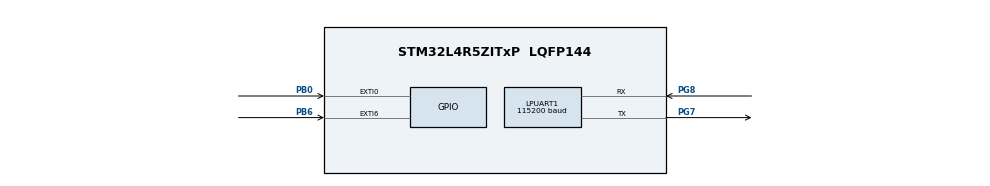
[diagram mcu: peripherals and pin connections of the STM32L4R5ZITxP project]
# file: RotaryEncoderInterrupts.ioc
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LPUART1.BaudRate=115200
LPUART1.WordLength=UART_WORDLENGTH_8B
Mcu.Family=STM32L4
Mcu.Name=STM32L4R5ZITxP
Mcu.Package=LQFP144
NVIC.EXTI0_IRQn=true\:0\:0\:false\:false\:true\:true\:true\:true
NVIC.EXTI9_5_IRQn=true\:0\:0\:false\:false\:true\:true\:true\:true
NVIC.PriorityGroup=NVIC_PRIORITYGROUP_4
PA0.Signal=S_TIM2_CH1
PA1.Signal=ADCx_IN6
PA10.Signal=USB_OTG_FS_ID
PA13\ (JTMS/SWDIO).Signal=SYS_JTMS-SWDIO
PA14\ (JTCK/SWCLK).Signal=SYS_JTCK-SWCLK
PA3.Signal=ADCx_IN8
PA4.Signal=SPI1_NSS
PA5.Signal=SPI1_SCK
PA6.Signal=SPI1_MISO
PA7.Signal=SPI1_MOSI
PA8.Signal=USB_OTG_FS_SOF
PA9.Signal=USB_OTG_FS_VBUS
PB0.GPIO_ModeDefaultEXTI=GPIO_MODE_IT_RISING_FALLING
PB0.Signal=GPXTI0
PB10.Signal=S_TIM2_CH3
PB12.Signal=SAI2_FS_A
PB13.Signal=SAI2_SCK_A
PB14.Signal=S_TIM15_CH1
PB15.Signal=SAI2_SD_A
PB2.Signal=COMP1_INP
PB3\ (JTDO/TRACESWO).Signal=SPI3_SCK
PB4\ (NJTRST).Signal=SPI3_MISO
PB5.Signal=SPI3_MOSI
PB6.GPIO_ModeDefaultEXTI=GPIO_MODE_IT_RISING_FALLING
PB6.Signal=GPXTI6
PB8.Signal=I2C1_SCL
PB9.Signal=I2C1_SDA
PC0.Signal=ADCx_IN1
PC1.Signal=ADCx_IN2
PC10.Signal=SDMMC1_D2
PC11.Signal=SDMMC1_D3
PC12.Signal=SDMMC1_CK
PC13.Signal=SYS_WKUP2
PC14-OSC32_IN\ (PC14).Signal=RCC_OSC32_IN
PC15-OSC32_OUT\ (PC15).Signal=RCC_OSC32_OUT
PC2.Signal=ADCx_IN3
PC3.Signal=ADCx_IN4
PC4.Signal=ADCx_IN13
PC5.Signal=ADCx_IN14
PC6.Signal=SAI2_MCLK_A
PC7.Signal=S_TIM3_CH2
PC8.Signal=SDMMC1_D0
PC9.Signal=SDMMC1_D1
PD0.Signal=CAN1_RX
PD14.Signal=S_TIM4_CH3
PD15.Signal=S_TIM4_CH4
PD2.Signal=SDMMC1_CMD
PD3.Signal=USART2_CTS
PD4.Signal=USART2_RTS
PD5.Signal=USART2_TX
PD6.Signal=USART2_RX
PD8.Signal=USART3_TX
PD9.Signal=USART3_RX
PE0.Signal=S_TIM4_ETR
PE10.Signal=TIM1_CH2N
PE11.Signal=S_TIM1_CH2
PE12.Signal=TIM1_CH3N
PE13.Signal=S_TIM1_CH3
PE14.Signal=TIM1_BKIN2
PE15.Signal=TIM1_BKIN
PE2.Signal=SAI1_MCLK_A
PE3.Signal=SAI1_SD_B
PE7.Signal=S_TIM1_ETR
PE8.Signal=TIM1_CH1N
PE9.Signal=S_TIM1_CH1
PF0.Signal=I2C2_SDA
PF1.Signal=I2C2_SCL
PF2.Signal=I2C2_SMBA
PF7.Signal=SAI1_MCLK_B
PG7.Mode=Asynchronous
PG7.Signal=LPUART1_TX
PG8.Mode=Asynchronous
PG8.Signal=LPUART1_RX
PH0-OSC_IN\ (PH0).Signal=RCC_OSC_IN
PH1-OSC_OUT\ (PH1).Signal=RCC_OSC_OUT
ProjectManager.HeapSize=0x200
ProjectManager.StackSize=0x400
ProjectManager.TargetToolchain=STM32CubeIDE
RCC.HSE_VALUE=8000000
RCC.HSI48_VALUE=48000000
RCC.HSI_VALUE=16000000
RCC.LSE_VALUE=32768
RCC.MSI_VALUE=4000000
RCC.VCOOutputFreq_Value=32000000
SH.ADCx_IN1.0=ADC1_IN1
SH.ADCx_IN13.0=ADC1_IN13
SH.ADCx_IN14.0=ADC1_IN14
SH.ADCx_IN2.0=ADC1_IN2
SH.ADCx_IN3.0=ADC1_IN3
SH.ADCx_IN4.0=ADC1_IN4
SH.ADCx_IN6.0=ADC1_IN6
SH.ADCx_IN8.0=ADC1_IN8
SH.S_TIM15_CH1.0=TIM15_CH1
SH.S_TIM1_CH1.0=TIM1_CH1
SH.S_TIM1_CH2.0=TIM1_CH2
SH.S_TIM1_CH3.0=TIM1_CH3
SH.S_TIM1_ETR.0=TIM1_ETR
SH.S_TIM2_CH1.0=TIM2_CH1
SH.S_TIM2_CH3.0=TIM2_CH3
SH.S_TIM3_CH2.0=TIM3_CH2
SH.S_TIM4_CH3.0=TIM4_CH3
SH.S_TIM4_CH4.0=TIM4_CH4
SH.S_TIM4_ETR.0=TIM4_ETR
board=NUCLEO-L4R5ZI-P

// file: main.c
/* USER CODE BEGIN Header */
/**
  ******************************************************************************
  * @file           : main.c
  * @brief          : Main program body
  ******************************************************************************
  * @attention
  *
  * Copyright (c) 2024 STMicroelectronics.
  * All rights reserved.
  *
  * This software is licensed under terms that can be found in the LICENSE file
  * in the root directory of this software component.
  * If no LICENSE file comes with this software, it is provided AS-IS.
  *
  ******************************************************************************
  */
/* USER CODE END Header */
#include "main.h"

/* USER CODE BEGIN Includes */
#include "stdio.h"
#include <stdbool.h>
/* USER CODE END Includes */

UART_HandleTypeDef hlpuart1;

void SystemClock_Config(void);
static void MX_GPIO_Init(void);
static void MX_LPUART1_UART_Init(void);

/* USER CODE BEGIN 0 */
void HAL_GPIO_EXTI_Callback(uint16_t GPIO_Pin)
{
  static int encoderPos = 0;
  static int aLast = 0;
  int aCurr, bCurr;
  bool bCW = false;

  if (GPIO_Pin == GPIO_PIN_0 || GPIO_Pin == GPIO_PIN_6) // Handle encoder pins
  {
    aCurr = HAL_GPIO_ReadPin(GPIOB, GPIO_PIN_0);
    bCurr = HAL_GPIO_ReadPin(GPIOB, GPIO_PIN_6);

    if (aCurr != aLast) // Detect rotation
    {
      if (bCurr != aCurr) // Clockwise
      {
        encoderPos++;
        bCW = true;
      }
      else // Counterclockwise
      {
        encoderPos--;
        bCW = false;
      }

      printf("Rotated: %s\n\r", bCW ? "clockwise" : "counterclockwise");
      printf("Encoder Position: %d\n\r", encoderPos);
    }
    aLast = aCurr;
  }
}
/* USER CODE END 0 */

int main(void)
{

  /* MCU Configuration--------------------------------------------------------*/

  /* Reset of all peripherals, Initializes the Flash interface and the Systick. */
  HAL_Init();

  /* Configure the system clock */
  SystemClock_Config();

  /* Initialize all configured peripherals */
  MX_GPIO_Init();
  MX_LPUART1_UART_Init();

  /* Infinite loop */
  while (1)
  {

  }
}

void SystemClock_Config(void)
{
  RCC_OscInitTypeDef RCC_OscInitStruct = {0};
  RCC_ClkInitTypeDef RCC_ClkInitStruct = {0};

  /** Configure the main internal regulator output voltage
  */
  if (HAL_PWREx_ControlVoltageScaling(PWR_REGULATOR_VOLTAGE_SCALE1) != HAL_OK)
  {
    Error_Handler();
  }

  /** Initializes the RCC Oscillators according to the specified parameters
  * in the RCC_OscInitTypeDef structure.
  */
  RCC_OscInitStruct.OscillatorType = RCC_OSCILLATORTYPE_MSI;
  RCC_OscInitStruct.MSIState = RCC_MSI_ON;
  RCC_OscInitStruct.MSICalibrationValue = 0;
  RCC_OscInitStruct.MSIClockRange = RCC_MSIRANGE_6;
  RCC_OscInitStruct.PLL.PLLState = RCC_PLL_NONE;
  if (HAL_RCC_OscConfig(&RCC_OscInitStruct) != HAL_OK)
  {
    Error_Handler();
  }

  /** Initializes the CPU, AHB and APB buses clocks
  */
  RCC_ClkInitStruct.ClockType = RCC_CLOCKTYPE_HCLK|RCC_CLOCKTYPE_SYSCLK
                              |RCC_CLOCKTYPE_PCLK1|RCC_CLOCKTYPE_PCLK2;
  RCC_ClkInitStruct.SYSCLKSource = RCC_SYSCLKSOURCE_MSI;
  RCC_ClkInitStruct.AHBCLKDivider = RCC_SYSCLK_DIV1;
  RCC_ClkInitStruct.APB1CLKDivider = RCC_HCLK_DIV1;
  RCC_ClkInitStruct.APB2CLKDivider = RCC_HCLK_DIV1;

  if (HAL_RCC_ClockConfig(&RCC_ClkInitStruct, FLASH_LATENCY_0) != HAL_OK)
  {
    Error_Handler();
  }
}

static void MX_LPUART1_UART_Init(void)
{

  hlpuart1.Instance = LPUART1;
  hlpuart1.Init.BaudRate = 115200;
  hlpuart1.Init.WordLength = UART_WORDLENGTH_8B;
  hlpuart1.Init.StopBits = UART_STOPBITS_1;
  hlpuart1.Init.Parity = UART_PARITY_NONE;
  hlpuart1.Init.Mode = UART_MODE_TX_RX;
  hlpuart1.Init.HwFlowCtl = UART_HWCONTROL_NONE;
  hlpuart1.Init.OneBitSampling = UART_ONE_BIT_SAMPLE_DISABLE;
  hlpuart1.Init.ClockPrescaler = UART_PRESCALER_DIV1;
  hlpuart1.AdvancedInit.AdvFeatureInit = UART_ADVFEATURE_NO_INIT;
  hlpuart1.FifoMode = UART_FIFOMODE_DISABLE;
  if (HAL_UART_Init(&hlpuart1) != HAL_OK)
  {
    Error_Handler();
  }
  if (HAL_UARTEx_SetTxFifoThreshold(&hlpuart1, UART_TXFIFO_THRESHOLD_1_8) != HAL_OK)
  {
    Error_Handler();
  }
  if (HAL_UARTEx_SetRxFifoThreshold(&hlpuart1, UART_RXFIFO_THRESHOLD_1_8) != HAL_OK)
  {
    Error_Handler();
  }
  if (HAL_UARTEx_DisableFifoMode(&hlpuart1) != HAL_OK)
  {
    Error_Handler();
  }

}

static void MX_GPIO_Init(void)
{
  GPIO_InitTypeDef GPIO_InitStruct = {0};

  /* GPIO Ports Clock Enable */
  __HAL_RCC_GPIOE_CLK_ENABLE();
  __HAL_RCC_GPIOC_CLK_ENABLE();
  __HAL_RCC_GPIOF_CLK_ENABLE();
  __HAL_RCC_GPIOH_CLK_ENABLE();
  __HAL_RCC_GPIOA_CLK_ENABLE();
  __HAL_RCC_GPIOB_CLK_ENABLE();
  __HAL_RCC_GPIOD_CLK_ENABLE();
  __HAL_RCC_GPIOG_CLK_ENABLE();
  HAL_PWREx_EnableVddIO2();

  /*Configure GPIO pins : PE2 PE3 */
  GPIO_InitStruct.Pin = GPIO_PIN_2|GPIO_PIN_3;
  GPIO_InitStruct.Mode = GPIO_MODE_AF_PP;
  GPIO_InitStruct.Pull = GPIO_NOPULL;
  GPIO_InitStruct.Speed = GPIO_SPEED_FREQ_LOW;
  GPIO_InitStruct.Alternate = GPIO_AF13_SAI1;
  HAL_GPIO_Init(GPIOE, &GPIO_InitStruct);

  /*Configure GPIO pins : PF0 PF1 PF2 */
  GPIO_InitStruct.Pin = GPIO_PIN_0|GPIO_PIN_1|GPIO_PIN_2;
  GPIO_InitStruct.Mode = GPIO_MODE_AF_OD;
  GPIO_InitStruct.Pull = GPIO_NOPULL;
  GPIO_InitStruct.Speed = GPIO_SPEED_FREQ_VERY_HIGH;
  GPIO_InitStruct.Alternate = GPIO_AF4_I2C2;
  HAL_GPIO_Init(GPIOF, &GPIO_InitStruct);

  /*Configure GPIO pin : PF7 */
  GPIO_InitStruct.Pin = GPIO_PIN_7;
  GPIO_InitStruct.Mode = GPIO_MODE_AF_PP;
  GPIO_InitStruct.Pull = GPIO_NOPULL;
  GPIO_InitStruct.Speed = GPIO_SPEED_FREQ_LOW;
  GPIO_InitStruct.Alternate = GPIO_AF13_SAI1;
  HAL_GPIO_Init(GPIOF, &GPIO_InitStruct);

  /*Configure GPIO pins : PC0 PC1 PC2 PC3
                           PC4 PC5 */
  GPIO_InitStruct.Pin = GPIO_PIN_0|GPIO_PIN_1|GPIO_PIN_2|GPIO_PIN_3
                          |GPIO_PIN_4|GPIO_PIN_5;
  GPIO_InitStruct.Mode = GPIO_MODE_ANALOG_ADC_CONTROL;
  GPIO_InitStruct.Pull = GPIO_NOPULL;
  HAL_GPIO_Init(GPIOC, &GPIO_InitStruct);

  /*Configure GPIO pin : PA0 */
  GPIO_InitStruct.Pin = GPIO_PIN_0;
  GPIO_InitStruct.Mode = GPIO_MODE_AF_PP;
  GPIO_InitStruct.Pull = GPIO_NOPULL;
  GPIO_InitStruct.Speed = GPIO_SPEED_FREQ_LOW;
  GPIO_InitStruct.Alternate = GPIO_AF1_TIM2;
  HAL_GPIO_Init(GPIOA, &GPIO_InitStruct);

  /*Configure GPIO pins : PA1 PA3 */
  GPIO_InitStruct.Pin = GPIO_PIN_1|GPIO_PIN_3;
  GPIO_InitStruct.Mode = GPIO_MODE_ANALOG_ADC_CONTROL;
  GPIO_InitStruct.Pull = GPIO_NOPULL;
  HAL_GPIO_Init(GPIOA, &GPIO_InitStruct);

  /*Configure GPIO pins : PA4 PA5 PA6 PA7 */
  GPIO_InitStruct.Pin = GPIO_PIN_4|GPIO_PIN_5|GPIO_PIN_6|GPIO_PIN_7;
  GPIO_InitStruct.Mode = GPIO_MODE_AF_PP;
  GPIO_InitStruct.Pull = GPIO_NOPULL;
  GPIO_InitStruct.Speed = GPIO_SPEED_FREQ_VERY_HIGH;
  GPIO_InitStruct.Alternate = GPIO_AF5_SPI1;
  HAL_GPIO_Init(GPIOA, &GPIO_InitStruct);

  /*Configure GPIO pins : PB0 PB6 */
  GPIO_InitStruct.Pin = GPIO_PIN_0|GPIO_PIN_6;
  GPIO_InitStruct.Mode = GPIO_MODE_IT_RISING_FALLING;
  GPIO_InitStruct.Pull = GPIO_NOPULL;
  HAL_GPIO_Init(GPIOB, &GPIO_InitStruct);

  /*Configure GPIO pin : PB2 */
  GPIO_InitStruct.Pin = GPIO_PIN_2;
  GPIO_InitStruct.Mode = GPIO_MODE_ANALOG;
  GPIO_InitStruct.Pull = GPIO_NOPULL;
  HAL_GPIO_Init(GPIOB, &GPIO_InitStruct);

  /*Configure GPIO pins : PE7 PE8 PE9 PE10
                           PE11 PE12 PE13 */
  GPIO_InitStruct.Pin = GPIO_PIN_7|GPIO_PIN_8|GPIO_PIN_9|GPIO_PIN_10
                          |GPIO_PIN_11|GPIO_PIN_12|GPIO_PIN_13;
  GPIO_InitStruct.Mode = GPIO_MODE_AF_PP;
  GPIO_InitStruct.Pull = GPIO_NOPULL;
  GPIO_InitStruct.Speed = GPIO_SPEED_FREQ_LOW;
  GPIO_InitStruct.Alternate = GPIO_AF1_TIM1;
  HAL_GPIO_Init(GPIOE, &GPIO_InitStruct);

  /*Configure GPIO pins : PE14 PE15 */
  GPIO_InitStruct.Pin = GPIO_PIN_14|GPIO_PIN_15;
  GPIO_InitStruct.Mode = GPIO_MODE_AF_PP;
  GPIO_InitStruct.Pull = GPIO_NOPULL;
  GPIO_InitStruct.Speed = GPIO_SPEED_FREQ_LOW;
  GPIO_InitStruct.Alternate = GPIO_AF3_TIM1_COMP1;
  HAL_GPIO_Init(GPIOE, &GPIO_InitStruct);

  /*Configure GPIO pin : PB10 */
  GPIO_InitStruct.Pin = GPIO_PIN_10;
  GPIO_InitStruct.Mode = GPIO_MODE_AF_PP;
  GPIO_InitStruct.Pull = GPIO_NOPULL;
  GPIO_InitStruct.Speed = GPIO_SPEED_FREQ_LOW;
  GPIO_InitStruct.Alternate = GPIO_AF1_TIM2;
  HAL_GPIO_Init(GPIOB, &GPIO_InitStruct);

  /*Configure GPIO pins : PB12 PB13 PB15 */
  GPIO_InitStruct.Pin = GPIO_PIN_12|GPIO_PIN_13|GPIO_PIN_15;
  GPIO_InitStruct.Mode = GPIO_MODE_AF_PP;
  GPIO_InitStruct.Pull = GPIO_NOPULL;
  GPIO_InitStruct.Speed = GPIO_SPEED_FREQ_LOW;
  GPIO_InitStruct.Alternate = GPIO_AF13_SAI2;
  HAL_GPIO_Init(GPIOB, &GPIO_InitStruct);

  /*Configure GPIO pin : PB14 */
  GPIO_InitStruct.Pin = GPIO_PIN_14;
  GPIO_InitStruct.Mode = GPIO_MODE_AF_PP;
  GPIO_InitStruct.Pull = GPIO_NOPULL;
  GPIO_InitStruct.Speed = GPIO_SPEED_FREQ_LOW;
  GPIO_InitStruct.Alternate = GPIO_AF14_TIM15;
  HAL_GPIO_Init(GPIOB, &GPIO_InitStruct);

  /*Configure GPIO pins : PD8 PD9 */
  GPIO_InitStruct.Pin = GPIO_PIN_8|GPIO_PIN_9;
  GPIO_InitStruct.Mode = GPIO_MODE_AF_PP;
  GPIO_InitStruct.Pull = GPIO_NOPULL;
  GPIO_InitStruct.Speed = GPIO_SPEED_FREQ_VERY_HIGH;
  GPIO_InitStruct.Alternate = GPIO_AF7_USART3;
  HAL_GPIO_Init(GPIOD, &GPIO_InitStruct);

  /*Configure GPIO pins : PD14 PD15 */
  GPIO_InitStruct.Pin = GPIO_PIN_14|GPIO_PIN_15;
  GPIO_InitStruct.Mode = GPIO_MODE_AF_PP;
  GPIO_InitStruct.Pull = GPIO_NOPULL;
  GPIO_InitStruct.Speed = GPIO_SPEED_FREQ_LOW;
  GPIO_InitStruct.Alternate = GPIO_AF2_TIM4;
  HAL_GPIO_Init(GPIOD, &GPIO_InitStruct);

  /*Configure GPIO pin : PC6 */
  GPIO_InitStruct.Pin = GPIO_PIN_6;
  GPIO_InitStruct.Mode = GPIO_MODE_AF_PP;
  GPIO_InitStruct.Pull = GPIO_NOPULL;
  GPIO_InitStruct.Speed = GPIO_SPEED_FREQ_LOW;
  GPIO_InitStruct.Alternate = GPIO_AF13_SAI2;
  HAL_GPIO_Init(GPIOC, &GPIO_InitStruct);

  /*Configure GPIO pin : PC7 */
  GPIO_InitStruct.Pin = GPIO_PIN_7;
  GPIO_InitStruct.Mode = GPIO_MODE_AF_PP;
  GPIO_InitStruct.Pull = GPIO_NOPULL;
  GPIO_InitStruct.Speed = GPIO_SPEED_FREQ_LOW;
  GPIO_InitStruct.Alternate = GPIO_AF2_TIM3;
  HAL_GPIO_Init(GPIOC, &GPIO_InitStruct);

  /*Configure GPIO pins : PC8 PC9 PC10 PC11
                           PC12 */
  GPIO_InitStruct.Pin = GPIO_PIN_8|GPIO_PIN_9|GPIO_PIN_10|GPIO_PIN_11
                          |GPIO_PIN_12;
  GPIO_InitStruct.Mode = GPIO_MODE_AF_PP;
  GPIO_InitStruct.Pull = GPIO_NOPULL;
  GPIO_InitStruct.Speed = GPIO_SPEED_FREQ_VERY_HIGH;
  GPIO_InitStruct.Alternate = GPIO_AF12_SDMMC1;
  HAL_GPIO_Init(GPIOC, &GPIO_InitStruct);

  /*Configure GPIO pins : PA8 PA10 */
  GPIO_InitStruct.Pin = GPIO_PIN_8|GPIO_PIN_10;
  GPIO_InitStruct.Mode = GPIO_MODE_AF_PP;
  GPIO_InitStruct.Pull = GPIO_NOPULL;
  GPIO_InitStruct.Speed = GPIO_SPEED_FREQ_VERY_HIGH;
  GPIO_InitStruct.Alternate = GPIO_AF10_OTG_FS;
  HAL_GPIO_Init(GPIOA, &GPIO_InitStruct);

  /*Configure GPIO pin : PA9 */
  GPIO_InitStruct.Pin = GPIO_PIN_9;
  GPIO_InitStruct.Mode = GPIO_MODE_INPUT;
  GPIO_InitStruct.Pull = GPIO_NOPULL;
  HAL_GPIO_Init(GPIOA, &GPIO_InitStruct);

  /*Configure GPIO pin : PD0 */
  GPIO_InitStruct.Pin = GPIO_PIN_0;
  GPIO_InitStruct.Mode = GPIO_MODE_AF_PP;
  GPIO_InitStruct.Pull = GPIO_NOPULL;
  GPIO_InitStruct.Speed = GPIO_SPEED_FREQ_VERY_HIGH;
  GPIO_InitStruct.Alternate = GPIO_AF9_CAN1;
  HAL_GPIO_Init(GPIOD, &GPIO_InitStruct);

  /*Configure GPIO pin : PD2 */
  GPIO_InitStruct.Pin = GPIO_PIN_2;
  GPIO_InitStruct.Mode = GPIO_MODE_AF_PP;
  GPIO_InitStruct.Pull = GPIO_NOPULL;
  GPIO_InitStruct.Speed = GPIO_SPEED_FREQ_VERY_HIGH;
  GPIO_InitStruct.Alternate = GPIO_AF12_SDMMC1;
  HAL_GPIO_Init(GPIOD, &GPIO_InitStruct);

  /*Configure GPIO pins : PD3 PD4 PD5 PD6 */
  GPIO_InitStruct.Pin = GPIO_PIN_3|GPIO_PIN_4|GPIO_PIN_5|GPIO_PIN_6;
  GPIO_InitStruct.Mode = GPIO_MODE_AF_PP;
  GPIO_InitStruct.Pull = GPIO_NOPULL;
  GPIO_InitStruct.Speed = GPIO_SPEED_FREQ_VERY_HIGH;
  GPIO_InitStruct.Alternate = GPIO_AF7_USART2;
  HAL_GPIO_Init(GPIOD, &GPIO_InitStruct);

  /*Configure GPIO pins : PB3 PB4 PB5 */
  GPIO_InitStruct.Pin = GPIO_PIN_3|GPIO_PIN_4|GPIO_PIN_5;
  GPIO_InitStruct.Mode = GPIO_MODE_AF_PP;
  GPIO_InitStruct.Pull = GPIO_NOPULL;
  GPIO_InitStruct.Speed = GPIO_SPEED_FREQ_VERY_HIGH;
  GPIO_InitStruct.Alternate = GPIO_AF6_SPI3;
  HAL_GPIO_Init(GPIOB, &GPIO_InitStruct);

  /*Configure GPIO pins : PB8 PB9 */
  GPIO_InitStruct.Pin = GPIO_PIN_8|GPIO_PIN_9;
  GPIO_InitStruct.Mode = GPIO_MODE_AF_OD;
  GPIO_InitStruct.Pull = GPIO_NOPULL;
  GPIO_InitStruct.Speed = GPIO_SPEED_FREQ_VERY_HIGH;
  GPIO_InitStruct.Alternate = GPIO_AF4_I2C1;
  HAL_GPIO_Init(GPIOB, &GPIO_InitStruct);

  /*Configure GPIO pin : PE0 */
  GPIO_InitStruct.Pin = GPIO_PIN_0;
  GPIO_InitStruct.Mode = GPIO_MODE_AF_PP;
  GPIO_InitStruct.Pull = GPIO_NOPULL;
  GPIO_InitStruct.Speed = GPIO_SPEED_FREQ_LOW;
  GPIO_InitStruct.Alternate = GPIO_AF2_TIM4;
  HAL_GPIO_Init(GPIOE, &GPIO_InitStruct);

  /* EXTI interrupt init*/
  HAL_NVIC_SetPriority(EXTI0_IRQn, 0, 0);
  HAL_NVIC_EnableIRQ(EXTI0_IRQn);

  HAL_NVIC_SetPriority(EXTI9_5_IRQn, 0, 0);
  HAL_NVIC_EnableIRQ(EXTI9_5_IRQn);

}

/* USER CODE BEGIN 4 */
#ifdef __GNUC__
#define PUTCHAR_PROTOTYPE int __io_putchar(int ch)
#else
  #define PUTCHAR_PROTOTYPE int fputc(int ch, FILE *f)
#endif /* __GNUC__ */
PUTCHAR_PROTOTYPE
{
  HAL_UART_Transmit(&hlpuart1, (uint8_t *)&ch, 1, 0xFFFF);
  return ch;
}
/* USER CODE END 4 */

void Error_Handler(void)
{
  __disable_irq();
  while (1)
  {
  }
}
